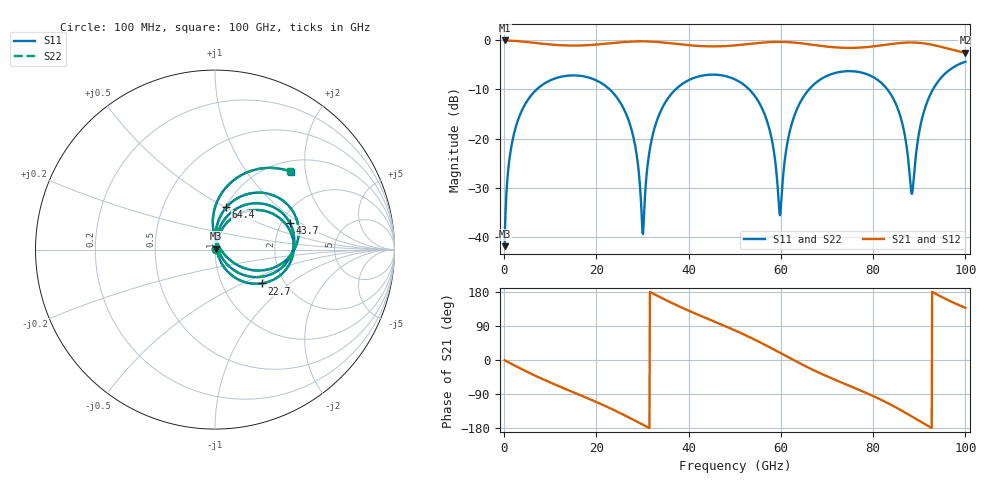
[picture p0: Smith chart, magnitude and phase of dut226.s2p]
! Touchstone file exported from HFSS 2026.1.0
!  File:  C:/ffzhzh/LocalFiles/Ansys_Project_Files/temp_train_TSV_RDL_226_1783663857_33328.aedt
!  Generated:  02:21:41 PM Jul 10, 2026
!  Design:  TSV_RDL
!  Project:  temp_train_TSV_RDL_226_1783663857_33328
! Variables:
!  h_bsmrdl = 3.83um
!  h_ox = 20um
!  h_rdl = 5um
!  h_sub = 60.98um
!  h_tmrdl = 4.15um
!  h_tsv = 60.98um
!  h_via = 3um
!  l_bsmrdl = 175.34um
!  l_sub = 1991.75um
!  l_tmrdl = 224.29um
!  m_sub = 200um
!  pitch = 58.59um
!  r_tsv = 13.75um
!  s_tmrdl = 10um
!  w_bsmrdl = 28.3um
!  w_sub = 500um
!  w_tmrdl = 27.89um
!  x_tsv_center1 = 238.235um
!  x_tsv_center2 = 441.875um
!  x_tsv_center3 = 694.055um
!  x_tsv_center4 = 897.695um
!  x_tsv_center5 = 1149.875um
!  x_tsv_center6 = 1353.515um
# GHz S MA R 50.000000
! Terminal data exported
! Port[1] = TM_RDL1_1_T1
! Port[2] = TM_RDL5_1_T1
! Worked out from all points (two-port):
!   1000 points, 100 MHz to 100 GHz, reference 50 ohm
!   highest |S21| = -0.05 dB at 100 MHz (marker M1); lowest = -2.5 dB at 100 GHz (marker M2)
!   |S21| within 3 dB of the highest: start of sweep to end of sweep
!   lowest |S11| = -41.8 dB at 100 MHz (marker M3), VSWR 1.02, Z = 50.6 + j0.59 ohm
!   |S11| at or under -10 dB: 22.89 GHz to 37.15 GHz (14.27 GHz wide, 47.5 % of centre); 53.13 GHz to 66.09 GHz (12.96 GHz wide, 21.7 % of centre); 83.09 GHz to 92.96 GHz (9.87 GHz wide, 11.2 % of centre) (the widest 3 of 4)
!   |S22| runs from -41.8 to -4.4 dB; largest |S21 - S12| = 1.7e-14
!   S11 on the Smith chart (normalised r, x): 100 MHz: 1.01, +0.01; 22.7 GHz: 1.54, -0.65; 43.7 GHz: 2.21, +0.83; 64.4 GHz: 1.01, +0.50; 100 GHz: 1.21, +1.66
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0.1  0.008104 46.0  0.9944 -0.7  0.9944 -0.7  0.008104 46.0
! Gamma 0 0 0 0
! Port Impedance 50 0 50 0
1.5  0.08011 74.6  0.9888 -9.7  0.9888 -9.7  0.08011 74.6
4.2  0.209 60.4  0.9667 -26.6  0.9667 -26.6  0.209 60.4
16.8  0.4331 -5.3  0.885 -94.2  0.885 -94.2  0.4331 -5.3
22.7  0.3222 -35.8  0.9276 -125.8  0.9276 -125.8  0.3221 -35.7
27.6  0.1242 -61.7  0.9688 -155.1  0.9688 -155.1  0.1242 -61.5
30  0.01113 -8.9  0.9743 -170.3  0.9743 -170.3  0.01142 -8.3
31.6  0.07885 80.7  0.97 179.5  0.97 179.5  0.07893 80.5
33.4  0.1659 73.7  0.9582 168.3  0.9582 168.3  0.1659 73.6
43.7  0.4427 19.9  0.8678 110.9  0.8678 110.9  0.4427 19.9
50.1  0.3989 -11.9  0.8868 77.8  0.8868 77.8  0.3989 -11.9
56.6  0.1708 -46.0  0.9503 39.7  0.9503 39.7  0.1709 -45.9
59.8  0.01672 18.9  0.9622 19.0  0.9622 19.0  0.01701 18.8
61.7  0.1067 86.9  0.9555 6.6  0.9555 6.6  0.1068 86.7
64.4  0.2436 75.1  0.9303 -10.7  0.9303 -10.7  0.2436 75.0
66.7  0.3393 62.6  0.901 -24.6  0.901 -24.6  0.3393 62.6
75.8  0.4832 16.8  0.8364 -73.0  0.8364 -73.0  0.4832 16.8
83.4  0.3025 -22.1  0.9082 -115.2  0.9082 -115.2  0.3026 -22.1
86.3  0.1442 -34.9  0.9408 -134.3  0.9408 -134.3  0.1442 -34.9
88.4  0.0275 30.6  0.9484 -149.1  0.9484 -149.1  0.02751 30.5
92.2  0.268 87.4  0.9101 -176.2  0.9101 -176.2  0.268 87.5
100  0.6052 46.0  0.7462 137.7  0.7462 137.7  0.6052 46.0
